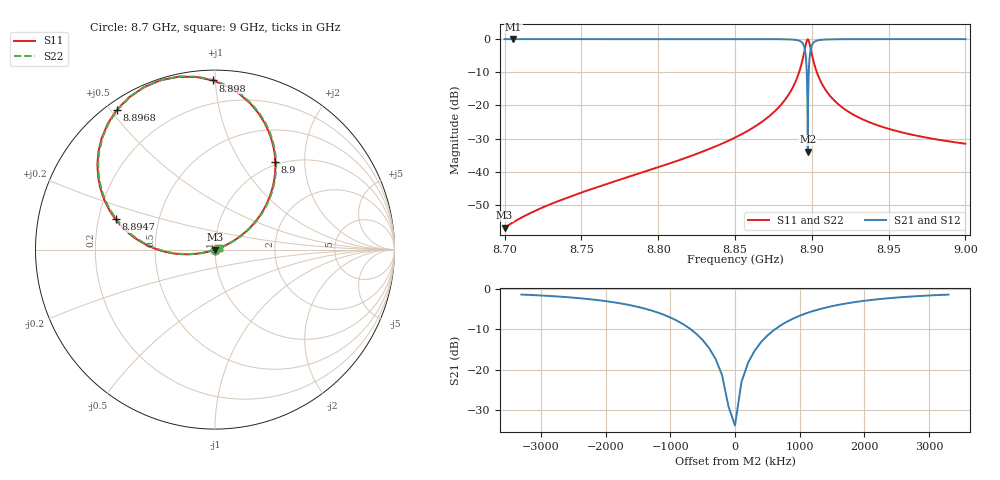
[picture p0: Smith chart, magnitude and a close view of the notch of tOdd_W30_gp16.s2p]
! Sonnet Data File
! From: emgraph Version : 16.52
! From Project: transmon_trial2
! Data is De-embedded
! Data File Written: 10/20/2017 10:41:09
!< HDATE 10/20/2017 09:51:02
!< MDATE 10/20/2017 09:51:02
!< PARAMS
!< Lj = 15.24
!< Gap = 16.0
!< Width = 30.0
!< Airgap = 18.0
!< Pwidth = 2000.0
!< END PARAMS
# GHZ S MA R 41.17000
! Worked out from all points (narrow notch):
!   3001 points, 8.7 GHz to 9 GHz, reference 41.17 ohm
!   highest |S21| = 0.00 dB at 8.7056 GHz (marker M1); lowest = -34.0 dB at 8.8974 GHz (marker M2)
!   notch at M2: 34.0 dB deep, 560 kHz wide at half that depth
!   lowest |S11| = -56.9 dB at 8.7 GHz (marker M3), VSWR 1.00, Z = 41.1 - j0.0413 ohm
!   |S11| at or under -10 dB: start of sweep to 8.8917 GHz; 8.9033 GHz to end of sweep
!   |S22| runs from -56.9 to -0.1 dB; largest |S21 - S12| = 0
!   S11 on the Smith chart (normalised r, x): 8.7 GHz: 1.00, -0.00; 8.8947 GHz: 0.27, +0.14; 8.8968 GHz: 0.03, +0.52; 8.898 GHz: 0.06, +0.99; 8.9 GHz: 0.96, +1.44; 9 GHz: 1.05, +0.02
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8.7  0.001429 -159.4  1 -70.0  1 -70.0  0.001429 -160.3
!< P1 F=8.7 Eeff=(4.89554446 -6.0516e-5) Z0=(41.1855282 -1.5157e-4) R=0.0 C=0.0
!< P2 F=8.7 Eeff=(4.89554446 -6.0516e-5) Z0=(41.1855282 -1.5157e-4) R=0.0 C=0.0
8.7056  0.001726 -159.5  1 -70.0  1 -70.0  0.001726 -160.4
8.75  0.004843 -160.2  1 -70.6  1 -70.6  0.004842 -160.8
8.8  0.01165 -161.1  0.9999 -71.3  0.9999 -71.3  0.01165 -161.6
8.85  0.03261 -162.7  0.9994 -73.0  0.9994 -73.0  0.03261 -163.2
8.8809  0.1083 -167.4  0.994 -77.5  0.994 -77.5  0.1083 -167.9
8.8914  0.2999 -178.8  0.9531 -88.9  0.9531 -88.9  0.2999 -179.3
8.8934  0.4301 173.1  0.9009 -96.9  0.9009 -96.9  0.4301 172.6
8.8947  0.5794 163.0  0.8114 -106.9  0.8114 -106.9  0.5794 162.5
8.8958  0.7697 147.8  0.6301 -121.8  0.6301 -121.8  0.7697 147.4
8.8968  0.9517 125.0  0.2802 -143.5  0.2802 -143.5  0.9517 124.5
8.8974  0.9912 107.8  0.02005 -8.0  0.02005 -8.0  0.9912 107.2
8.898  0.9425 90.7  0.3104 -1.1  0.3104 -1.1  0.9425 90.2
8.8986  0.8376 76.4  0.5351 -14.6  0.5351 -14.6  0.8376 75.9
8.899  0.7603 68.8  0.6419 -22.0  0.6419 -22.0  0.7603 68.3
8.9  0.592 55.4  0.8022 -35.2  0.8022 -35.2  0.592 54.9
8.9018  0.4035 42.8  0.9135 -47.7  0.9135 -47.7  0.4035 42.3
8.9042  0.2778 35.0  0.96 -55.4  0.96 -55.4  0.2778 34.5
8.9151  0.1155 25.3  0.9932 -65.0  0.9932 -65.0  0.1155 24.8
8.9294  0.06772 22.4  0.9977 -67.8  0.9977 -67.8  0.06772 21.9
8.95  0.04428 20.9  0.999 -69.3  0.999 -69.3  0.04428 20.4
9  0.0264 19.5  0.9996 -70.8  0.9996 -70.8  0.0264 19.0
